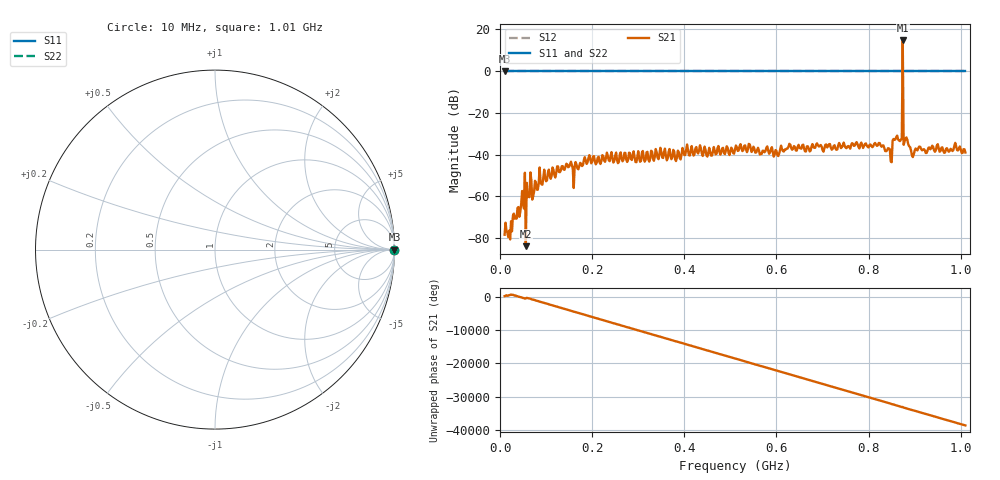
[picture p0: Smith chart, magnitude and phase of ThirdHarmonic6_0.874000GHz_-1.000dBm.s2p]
! 8/16/2025 4:50:17 AM
! C:\ANRITSUVNA\TEMP\TEMP.S2P
! CHANNEL.1
! TR.MEASUREMENT
! RAW.DATA
! RF.CORRECTION.OFF
! AVERAGING.OFF
! IF.BANDWIDTH: 5KHZ
! SWEEPTYPE:  FREQ.SWEEP(Linear)
! Reference Plane Port Info
! PORT:  PORT1  PORT2
! DISTANCE:  0  m  0  m
! TIME:  0  s  0  s
! PHASE.OFFSET:  0  deg.  0  deg.
! LOSS:  0  dB  0  dB
! REF.LOSS:  0  dB  0  dB
! REF.FREQ:  0  Hz  0  Hz
! Power Info
! POWER:  -20  dBm  -20  dBm
! EFF.POWER:  -20  dBm  -20  dBm
! SOURCE.ATTEN:  0  dB  0  dB
! TEST.ATTEN:  0  dB  0  dB
# GHZ S RI R 50.0
! FREQ.GHZ  S11RE  S11IM  S21RE  S21IM  S12RE  S12IM  S22RE  S22IM
!; PortSelection: Port_12
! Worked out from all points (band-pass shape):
!   501 points, 10 MHz to 1.01 GHz, reference 50 ohm
!   highest |S21| = 14.71 dB at 874 MHz (marker M1); lowest = -83.9 dB at 56 MHz (marker M2)
!   |S21| within 3 dB of the highest: 873.8731 MHz to 874.12 MHz (246.9 kHz wide, 0.0282 % of centre)
!   lowest |S11| = 0.0 dB at 10 MHz (marker M3)
!   |S11| at or under -10 dB: nowhere
!   |S22| runs from 0.0 to 0.0 dB; largest |S21 - S12| = 4.6
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0.01  1 0  -0.000105 5.75e-05  1 0  1 0
0.022  1 0  -6.12e-05 6.93e-05  1 0  1 0
0.05  1 0  0.000526 -0.000562  1 0  1 0
0.052  1 0  -3.56e-05 -0.000508  1 0  1 0
0.056  1 0  -5.61e-05 -3e-05  1 0  1 0
0.06  1 0  -3.78e-05 -0.000953  1 0  1 0
0.062  1 0  -0.000885 -0.000447  1 0  1 0
0.09  1 0  -0.00152 0.00119  1 0  1 0
0.178  1 0  -0.00528 -0.000494  1 0  1 0
0.344  1 0  0.00753 -0.00184  1 0  1 0
0.51  1 0  -0.0126 0.00431  1 0  1 0
0.678  1 0  -0.0106 -0.0143  1 0  1 0
0.82  1 0  0.000852 -0.0166  1 0  1 0
0.844  1 0  0.0116 0.00783  1 0  1 0
0.858  1 0  -0.0224 -0.00538  1 0  1 0
0.868  1 0  -0.0131 0.0164  1 0  1 0
0.87  1 0  0.0152 0.0169  1 0  1 0
0.874  1 0  4.668 -2.786  1 0  1 0
0.878  1 0  0.00051 0.0206  1 0  1 0
0.88  1 0  0.0239 0.00221  1 0  1 0
0.896  1 0  0.00176 0.00853  1 0  1 0
1.01  1 0  -0.011 -0.00196  1 0  1 0
